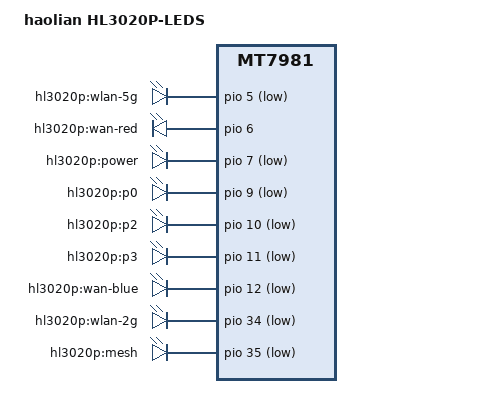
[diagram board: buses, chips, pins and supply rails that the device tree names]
// SPDX-License-Identifier: GPL-2.0-only OR MIT

#include "mt7981b-hl-hl3020p.dts"

/ {
	model = "haolian HL3020P-LEDS";
	compatible = "hl,hl3020p-leds", "mediatek,mt7981";

	aliases {
		led-boot = &led_panel_power;
		led-failsafe = &led_panel_power;
		led-running = &led_panel_power;
		led-upgrade = &led_panel_power;
	};

	leds {
		/delete-node/ led-0;
		/delete-node/ led-1;
		/delete-node/ led-2;
		/delete-node/ led-3;
		/delete-node/ led-4;
		/delete-node/ led-5;
		/delete-node/ led-6;
		/delete-node/ led-7;
		/delete-node/ led-8;

		wlan-5g {
			label = "hl3020p:wlan-5g";
			gpios = <&pio 5 GPIO_ACTIVE_LOW>;
		};

		wan-red {
			label = "hl3020p:wan-red";
			gpios = <&pio 6 GPIO_ACTIVE_HIGH>;
		};

		led_panel_power: power {
			label = "hl3020p:power";
			gpios = <&pio 7 GPIO_ACTIVE_LOW>;
			default-state = "on";
		};

		p0 {
			label = "hl3020p:p0";
			gpios = <&pio 9 GPIO_ACTIVE_LOW>;
		};

		p2 {
			label = "hl3020p:p2";
			gpios = <&pio 10 GPIO_ACTIVE_LOW>;
		};

		p3 {
			label = "hl3020p:p3";
			gpios = <&pio 11 GPIO_ACTIVE_LOW>;
		};

		wan-blue {
			label = "hl3020p:wan-blue";
			gpios = <&pio 12 GPIO_ACTIVE_LOW>;
		};

		wlan-2g {
			label = "hl3020p:wlan-2g";
			gpios = <&pio 34 GPIO_ACTIVE_LOW>;
		};

		mesh {
			label = "hl3020p:mesh";
			gpios = <&pio 35 GPIO_ACTIVE_LOW>;
		};
	};
};
